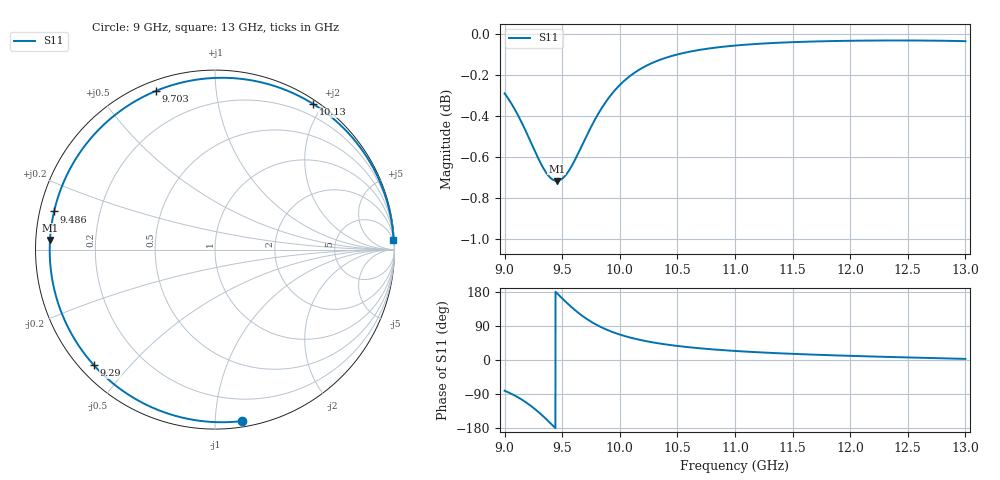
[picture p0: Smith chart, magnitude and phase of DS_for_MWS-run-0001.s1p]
! TOUCHSTONE file generated by CST DESIGN STUDIO
! Date and time: Tue Feb  4 14:04:09 2025
! Project name: C:\Work\MatlabApps\UnitCellOptimizationMatlab\CST\unitcell.cst
! Tree item: Tasks\Sweep1\SPara1\S-Parameters
! Header version: 2024
! Port assignment regex: !\s*Touchstone port\s*([0-9]+)\s*=\s*(CST MWS port|CST DES external port|CST DES block port)\s*(.+)\s* \(\"(.*)\"\)(\s*mode\s*([0-9]+))?.*
! Touchstone port assignment:
! Touchstone port 1 = CST DES external port 1 ("")
# GHz S MA R 50
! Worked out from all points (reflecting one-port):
!   4001 points, 9 GHz to 13 GHz, reference 50 ohm
!   lowest |S11| = -0.7 dB at 9.453 GHz (marker M1), VSWR 24.30, Z = 2.06 + j1.47 ohm
!   phase of S11 starts at -81 deg and turns -276 deg over the sweep
!   S11 on the Smith chart (normalised r, x): 9 GHz: 0.04, -1.17; 9.29 GHz: 0.04, -0.40; 9.486 GHz: 0.04, +0.12; 9.703 GHz: 0.04, +0.69; 10.13 GHz: 0.05, +1.88; 13 GHz: 3, +39
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9  0.9671 -81.0
9.089  0.9584 -94.0
9.162  0.9498 -107.0
9.228  0.941 -121.1
9.29  0.9329 -136.3
9.332  0.928 -147.6
9.377  0.9238 -160.5
9.415  0.9217 -171.9
9.453  0.9209 176.6
9.486  0.9215 166.7
9.5  0.9221 162.5
9.554  0.9258 146.9
9.603  0.9309 133.7
9.652  0.9369 121.7
9.703  0.9433 110.4
9.76  0.9503 99.4
9.825  0.9574 88.6
9.91  0.9652 77.0
10  0.9717 67.2
10.134  0.9786 55.9
10.299  0.9842 45.8
10.5  0.9884 37.1
10.723  0.9913 30.1
11  0.9934 23.9
11.5  0.9953 16.2
12  0.996 10.9
12.5  0.9962 6.7
13  0.9958 3.0
